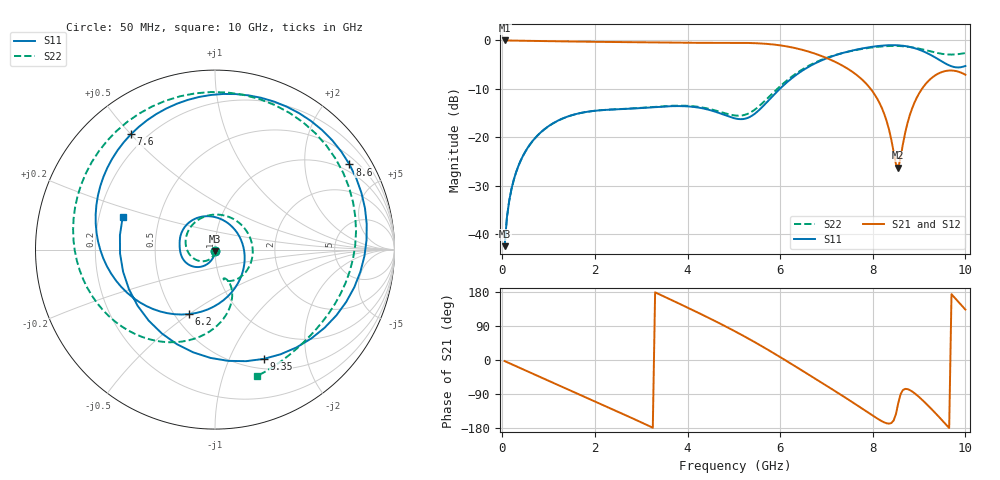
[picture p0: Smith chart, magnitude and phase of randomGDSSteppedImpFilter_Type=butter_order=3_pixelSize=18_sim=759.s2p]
! freq	dB(S11)	phase(S11)	dB(S12)	phase(S12)
!  dB(S21)	phase(S21)	dB(S22)	phase(S22)
!S-par simulation data
#  GHz  S  DB  R 50
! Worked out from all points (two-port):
!   200 points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, 50 MHz to 10 GHz, reference 50 ohm
!   highest |S21| = 0.00 dB at 50 MHz (marker M1); lowest = -26.2 dB at 8.55 GHz (marker M2)
!   |S21| within 3 dB of the highest: start of sweep to 6.835 GHz
!   lowest |S11| = -42.4 dB at 50 MHz (marker M3), VSWR 1.02, Z = 50 - j0.757 ohm
!   |S11| at or under -10 dB: start of sweep to 5.992 GHz
!   |S22| runs from -42.4 to -1.1 dB; largest |S21 - S12| = 0
!   S11 on the Smith chart (normalised r, x): 50 MHz: 1.00, -0.02; 6.2 GHz: 0.59, -0.50; 7.6 GHz: 0.14, +0.50; 8.6 GHz: 0.74, +3.30; 9.35 GHz: 0.62, -1.35; 10 GHz: 0.30, +0.16
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0.05  -42.42 -91.1  -0.00 -2.8  -0.00 -2.8  -42.41 -91.1
0.2  -30.55 -98.2  -0.02 -11.1  -0.02 -11.1  -30.58 -103.2
0.5  -22.87 -111.6  -0.06 -27.5  -0.06 -27.5  -22.90 -124.2
1.15  -16.79 -138.0  -0.17 -62.9  -0.17 -62.9  -16.81 -169.4
1.75  -14.84 -159.0  -0.26 -95.5  -0.26 -95.5  -14.85 146.4
2.65  -14.12 177.1  -0.35 -144.9  -0.35 -144.9  -14.10 71.7
3.4  -13.68 157.9  -0.43 172.8  -0.43 172.8  -13.61 7.2
4.3  -13.95 116.5  -0.50 120.6  -0.50 120.6  -13.79 -54.2
5.05  -16.13 43.6  -0.49 74.0  -0.49 74.0  -15.49 -73.4
5.7  -12.87 -55.9  -0.70 29.6  -0.70 29.6  -12.18 -67.5
6.2  -8.20 -112.3  -1.33 -7.2  -1.33 -7.2  -7.83 -85.6
6.7  -5.00 -158.4  -2.56 -45.0  -2.56 -45.0  -4.82 -116.0
7.15  -3.18 163.5  -4.25 -79.3  -4.25 -79.3  -3.12 -147.9
7.6  -1.99 126.1  -6.74 -114.5  -6.74 -114.5  -2.05 176.3
8  -1.29 91.5  -10.58 -146.8  -10.58 -146.8  -1.43 139.7
8.35  -0.98 58.4  -18.35 -167.9  -18.35 -167.9  -1.15 102.8
8.55  -1.01 37.7  -26.24 -114.0  -26.24 -114.0  -1.14 79.5
8.6  -1.04 32.3  -24.18 -90.2  -24.18 -90.2  -1.16 73.5
8.95  -1.73 -8.8  -11.81 -92.4  -11.81 -92.4  -1.59 30.8
9.35  -3.52 -66.0  -7.19 -139.8  -7.19 -139.8  -2.49 -14.3
9.65  -5.14 -122.3  -6.20 -179.5  -6.20 -179.5  -2.91 -42.1
10  -5.27 160.6  -7.08 133.0  -7.08 133.0  -2.59 -71.4
